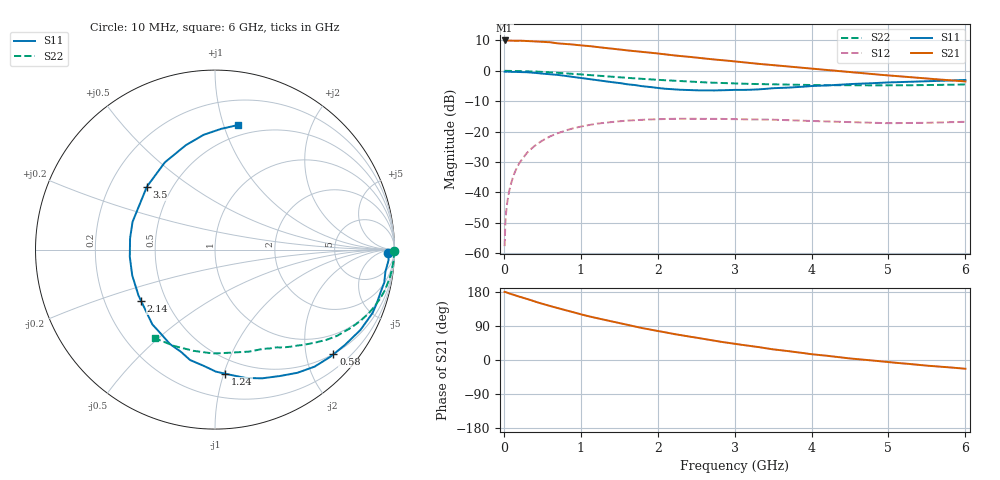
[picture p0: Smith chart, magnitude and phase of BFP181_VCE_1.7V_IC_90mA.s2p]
! Infineon Technologies  Discrete & RF Semiconductors
! BFP181
! VCE = 1.7 V,  IC =  90 mA
! Common Emitter S-Parameters:  Jan 2016
# GHz  S  MA  R  50
!  f  S11  S21  S12  S22
! GHz  MAG  ANG  MAG  ANG  MAG  ANG  MAG  ANG
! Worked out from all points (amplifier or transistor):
!   210 points, 10 MHz to 6 GHz, reference 50 ohm
!   highest |S21| = 10.0 dB at 10 MHz (marker M1)
!   |S21| within 3 dB of that: start of sweep to 1.522 GHz
!   unconditionally stable (mu >= 1): 3.082 GHz to end of sweep
!   at 185 MHz: K = 0.08, MSG = 20.5 dB, |S12| = -31.1 dB
!   at 1.52 GHz: K = 0.52, MSG = 11.8 dB, |S12| = -16.6 dB
!   at 6 GHz: K = 1.33, MAG = 3.2 dB, |S12| = -16.8 dB
!   S11 on the Smith chart (normalised r, x): 10 MHz: 45, -22; 580 MHz: 0.49, -2.56; 1.24 GHz: 0.38, -1.01; 2.14 GHz: 0.36, -0.28; 3.5 GHz: 0.36, +0.35; 6 GHz: 0.40, +1.12
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0.01  0.9647 -1.0  3.152 179.7  0.0013 83.9  0.9985 -0.3
0.02  0.9662 -1.6  3.132 179.4  0.0032 89.4  0.998 -0.6
0.045  0.9683 -3.2  3.14 177.3  0.0069 89.3  0.9971 -1.5
0.09  0.9592 -6.5  3.13 174.3  0.0134 86.9  0.997 -3.1
0.145  0.9603 -10.6  3.117 170.8  0.0218 82.3  0.9939 -4.9
0.3  0.9463 -21.9  3.089 161.5  0.0444 75.3  0.9826 -10.2
0.42  0.9191 -30.3  3.036 153.2  0.0605 69.8  0.9703 -14.1
0.58  0.8809 -41.5  2.953 143.6  0.0806 62.2  0.9463 -19.1
0.8  0.8258 -56.2  2.779 131.2  0.1037 53.1  0.908 -25.3
1.02  0.7572 -71.2  2.604 119.6  0.1219 44.9  0.8666 -30.8
1.24  0.6933 -85.4  2.435 109.0  0.1361 37.2  0.8264 -35.9
1.5  0.6307 -102.7  2.252 97.2  0.1474 30.1  0.78 -40.8
1.64  0.5921 -111.3  2.14 91.2  0.1523 26.5  0.7592 -43.1
1.8  0.557 -122.8  2.054 84.2  0.1569 23.0  0.7361 -45.7
2.02  0.5174 -137.5  1.911 75.9  0.1603 18.2  0.7068 -49.1
2.14  0.5014 -145.1  1.831 71.4  0.1614 15.9  0.6929 -51.0
2.62  0.4755 -176.3  1.585 55.0  0.1619 8.1  0.6425 -58.1
3.1  0.4839 156.4  1.384 39.9  0.159 2.0  0.6115 -65.3
3.5  0.5166 137.3  1.239 28.1  0.1568 -1.6  0.5991 -71.6
4.1  0.5663 116.9  1.054 13.3  0.1478 -4.8  0.5798 -82.9
5.1  0.648 93.8  0.818 -7.4  0.1376 -4.9  0.5761 -104.1
6  0.7053 79.6  0.668 -23.1  0.1446 -1.4  0.5958 -123.9
